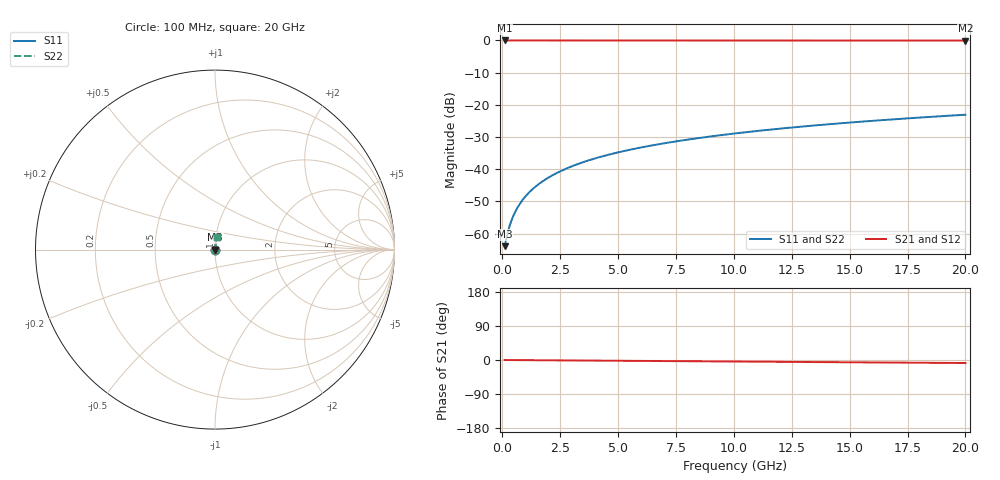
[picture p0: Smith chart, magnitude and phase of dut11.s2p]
! Touchstone file exported from HFSS 2026.1.0
!  File:  C:/ffzhzh/LocalFiles/Ansys_Project_Files/temp_test_TSV_11_1782978210_45308.aedt
!  Generated:  03:45:45 PM Jul  2, 2026
!  Design:  TSV
!  Project:  temp_test_TSV_11_1782978210_45308
! Variables:
!  h_bsmrdl = 2um
!  h_ox = 20um
!  h_rdl = 5um
!  h_sub = 66.98um
!  h_tmrdl = 5um
!  h_tsv = 66.98um
!  h_via = 3um
!  l_bsmrdl = 300um
!  l_sub = 408.04um
!  l_tmrdl = 200um
!  m_sub = 200um
!  pitch = 37.47um
!  r_tsv = 4.02um
!  s_tmrdl = 10um
!  w_bsmrdl = 18um
!  w_sub = 500um
!  w_tmrdl = 12um
!  x_tsv_center1 = 206um
!  x_tsv_center2 = 524um
!  x_tsv_center3 = 736um
!  x_tsv_center4 = 1054um
!  x_tsv_center5 = 1266um
!  x_tsv_center6 = 1584um
# GHz S MA R 50.000000
! Terminal data exported
! Port[1] = TSV1_1_T1
! Port[2] = TSV1_1_T2
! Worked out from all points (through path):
!   200 points, 100 MHz to 20 GHz, reference 50 ohm
!   highest |S21| = 0.00 dB at 100 MHz (marker M1); lowest = 0.0 dB at 20 GHz (marker M2)
!   group delay of S21, straight-line fit = 1.11 ps
!   lowest |S11| = -63.9 dB at 100 MHz (marker M3), VSWR 1.00, Z = 50.1 + j0.0387 ohm
!   |S11| at or under -10 dB: start of sweep to end of sweep
!   |S22| runs from -63.9 to -23.1 dB; largest |S21 - S12| = 5e-15
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0.1  0.0006366 37.3  0.9995 -0.0  0.9995 -0.0  0.0006366 37.3
! Gamma 0 0 0 0
! Port Impedance 50 0 50 0
0.2  0.0009255 56.0  0.9995 -0.1  0.9995 -0.1  0.0009255 56.0
0.3  0.00126 65.1  0.9995 -0.1  0.9995 -0.1  0.00126 65.1
0.4  0.00161 70.3  0.9995 -0.2  0.9995 -0.2  0.00161 70.3
0.5  0.001965 73.6  0.9994 -0.2  0.9994 -0.2  0.001965 73.6
0.6  0.002324 75.9  0.9994 -0.2  0.9994 -0.2  0.002324 75.9
0.8  0.003047 78.8  0.9994 -0.3  0.9994 -0.3  0.003047 78.8
1.1  0.00414 81.3  0.9994 -0.5  0.9994 -0.5  0.00414 81.3
1.5  0.005604 83.0  0.9994 -0.6  0.9994 -0.6  0.005604 83.0
1.8  0.006701 83.7  0.9993 -0.7  0.9993 -0.7  0.006701 83.7
2.1  0.007798 84.1  0.9993 -0.9  0.9993 -0.9  0.007798 84.1
2.7  0.009983 84.6  0.9992 -1.1  0.9992 -1.1  0.009983 84.6
3.5  0.01288 84.8  0.9991 -1.4  0.9991 -1.4  0.01288 84.8
4.2  0.01539 84.8  0.9989 -1.7  0.9989 -1.7  0.01539 84.8
5  0.01824 84.7  0.9988 -2.0  0.9988 -2.0  0.01824 84.7
5.9  0.02142 84.5  0.9986 -2.4  0.9986 -2.4  0.02142 84.5
6.8  0.02458 84.3  0.9984 -2.8  0.9984 -2.8  0.02458 84.3
8.3  0.02982 83.9  0.9981 -3.4  0.9981 -3.4  0.02982 83.9
10.1  0.03608 83.4  0.9978 -4.1  0.9978 -4.1  0.03608 83.4
13.4  0.0475 82.4  0.9971 -5.4  0.9971 -5.4  0.0475 82.4
16.7  0.05885 81.3  0.9963 -6.7  0.9963 -6.7  0.05885 81.3
20  0.07012 80.2  0.9953 -8.0  0.9953 -8.0  0.07012 80.2
